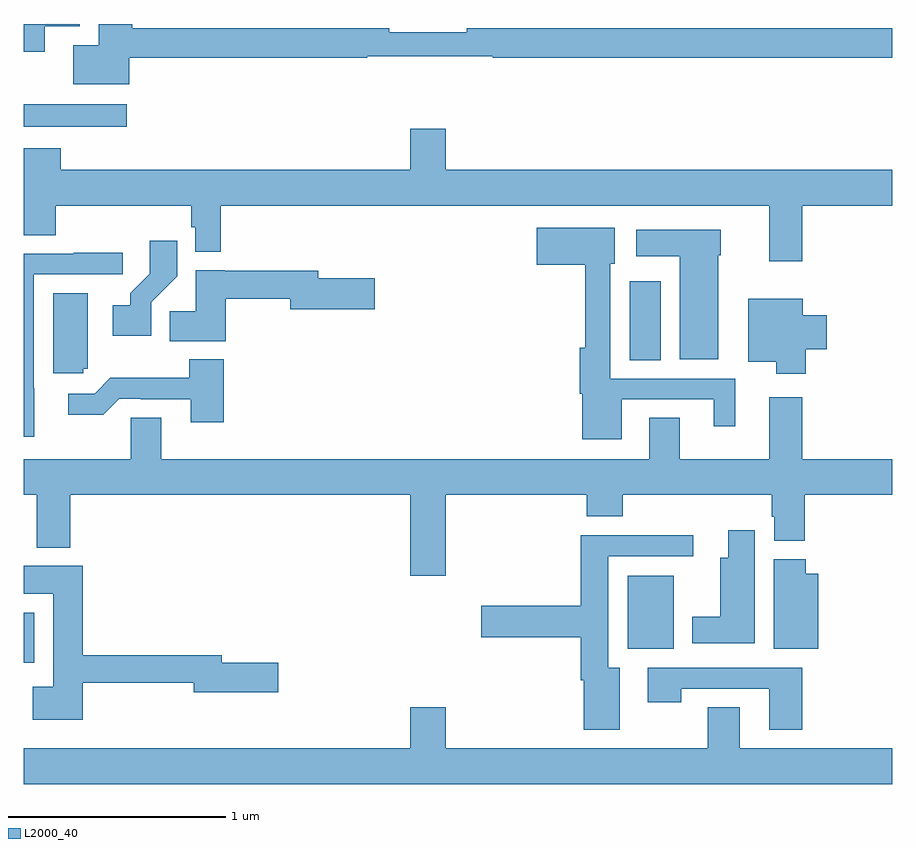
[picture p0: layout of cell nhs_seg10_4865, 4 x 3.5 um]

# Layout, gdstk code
import gdstk
lib = gdstk.Library(unit=1e-6, precision=1e-09)
def R(c, l, rs):  # rectangles x0, y0, x1, y1
    for r in rs: c.add(gdstk.rectangle(r[:2], r[2:], *l))
def P(c, l, *ps):  # polygons
    for p in ps: c.add(gdstk.Polygon(p, *l))
L2000_40 = (2000, 40)

nhs_seg10_4865 = lib.new_cell('nhs_seg10_4865')
R(nhs_seg10_4865, L2000_40, [(391,1283.558,391.048,1283.788), (393.782,1283.624,393.994,1283.959), (393.791,1284.952,393.934,1285.315), (391,1286.027,391.474,1286.131)])
P(nhs_seg10_4865, L2000_40, [(391.486,1286.344),(392.582,1286.344),(392.582,1286.352),(393.161,1286.352),(393.161,1286.344),(395,1286.344),(395,1286.48),(393.04,1286.48),(393.04,1286.461),(392.684,1286.461),(392.684,1286.48),(391.499,1286.48),(391.499,1286.5),(391.346,1286.5),(391.346,1286.401),(391.229,1286.401),(391.229,1286.222),(391.486,1286.222)],
  [(391.096,1286.49),(391.258,1286.49),(391.258,1286.5),(391,1286.5),(391,1286.373),(391.096,1286.373)],
  [(394.586,1285.664),(395,1285.664),(395,1285.828),(392.944,1285.828),(392.944,1286.017),(392.78,1286.017),(392.78,1285.828),(391.171,1285.828),(391.171,1285.927),(391,1285.927),(391,1285.528),(391.148,1285.528),(391.148,1285.664),(391.771,1285.664),(391.771,1285.563),(391.791,1285.563),(391.791,1285.451),(391.907,1285.451),(391.907,1285.664),(394.433,1285.664),(394.433,1285.407),(394.586,1285.407)],
  [(393.754,1284.771),(394.178,1284.771),(394.178,1284.648),(394.276,1284.648),(394.276,1284.867),(393.702,1284.867),(393.702,1285.395),(393.721,1285.395),(393.721,1285.561),(393.363,1285.561),(393.363,1285.391),(393.586,1285.391),(393.586,1285.009),(393.56,1285.009),(393.56,1284.798),(393.572,1284.798),(393.572,1284.587),(393.754,1284.587)],
  [(394.198,1285.434),(394.21,1285.434),(394.21,1285.552),(393.822,1285.552),(393.822,1285.43),(394.022,1285.43),(394.022,1284.956),(394.198,1284.956)],
  [(391.587,1285.219),(391.706,1285.338),(391.706,1285.501),(391.581,1285.501),(391.581,1285.349),(391.49,1285.259),(391.49,1285.204),(391.41,1285.204),(391.41,1285.064),(391.587,1285.064)],
  [(391.048,1284.822),(391.047,1284.822),(391.047,1285.347),(391.456,1285.347),(391.456,1285.446),(391.231,1285.446),(391.231,1285.443),(391,1285.443),(391,1284.6),(391.048,1284.6)],
  [(391.93,1285.234),(392.228,1285.234),(392.228,1285.187),(392.617,1285.187),(392.617,1285.329),(392.356,1285.329),(392.356,1285.363),(391.926,1285.363),(391.926,1285.366),(391.793,1285.366),(391.793,1285.178),(391.672,1285.178),(391.672,1285.04),(391.93,1285.04)],
  [(391.275,1284.912),(391.294,1284.912),(391.294,1285.261),(391.136,1285.261),(391.136,1284.891),(391.275,1284.891)],
  [(394.601,1285.001),(394.699,1285.001),(394.699,1285.159),(394.588,1285.159),(394.588,1285.234),(394.337,1285.234),(394.337,1284.944),(394.466,1284.944),(394.466,1284.89),(394.601,1284.89)],
  [(391.922,1284.955),(391.762,1284.955),(391.762,1284.871),(391.399,1284.871),(391.326,1284.798),(391.206,1284.798),(391.206,1284.701),(391.367,1284.701),(391.44,1284.774),(391.54,1284.774),(391.54,1284.771),(391.769,1284.771),(391.769,1284.666),(391.922,1284.666)],
  [(392.944,1284.332),(393.593,1284.332),(393.593,1284.233),(393.758,1284.233),(393.758,1284.332),(394.445,1284.332),(394.445,1284.231),(394.457,1284.231),(394.457,1284.121),(394.598,1284.121),(394.598,1284.332),(395,1284.332),(395,1284.496),(394.586,1284.496),(394.586,1284.781),(394.433,1284.781),(394.433,1284.496),(394.021,1284.496),(394.021,1284.686),(393.881,1284.686),(393.881,1284.496),(391.633,1284.496),(391.633,1284.686),(391.494,1284.686),(391.494,1284.496),(391,1284.496),(391,1284.332),(391.061,1284.332),(391.061,1284.089),(391.214,1284.089),(391.214,1284.332),(392.78,1284.332),(392.78,1283.958),(392.944,1283.958)],
  [(394.366,1284.169),(394.244,1284.169),(394.244,1284.043),(394.208,1284.043),(394.208,1283.77),(394.079,1283.77),(394.079,1283.648),(394.366,1283.648)],
  [(393.745,1283.536),(393.691,1283.536),(393.691,1284.048),(394.084,1284.048),(394.084,1284.146),(393.566,1284.146),(393.566,1283.822),(393.108,1283.822),(393.108,1283.675),(393.566,1283.675),(393.566,1283.477),(393.578,1283.477),(393.578,1283.25),(393.745,1283.25)],
  [(394.66,1283.968),(394.601,1283.968),(394.601,1284.036),(394.454,1284.036),(394.454,1283.624),(394.66,1283.624)],
  [(391.271,1283.466),(391.784,1283.466),(391.784,1283.423),(392.173,1283.423),(392.173,1283.558),(391.912,1283.558),(391.912,1283.594),(391.271,1283.594),(391.271,1284.004),(391,1284.004),(391,1283.876),(391.136,1283.876),(391.136,1283.449),(391.041,1283.449),(391.041,1283.297),(391.271,1283.297)],
  [(394.586,1283.535),(393.873,1283.535),(393.873,1283.376),(394.029,1283.376),(394.029,1283.439),(394.433,1283.439),(394.433,1283.25),(394.586,1283.25)],
  [(394.15,1283.354),(394.15,1283.164),(392.944,1283.164),(392.944,1283.353),(392.78,1283.353),(392.78,1283.164),(391,1283.164),(391,1283),(395,1283),(395,1283.164),(394.297,1283.164),(394.297,1283.354)])

lib.write_gds('nhs_seg10_4865.gds')
